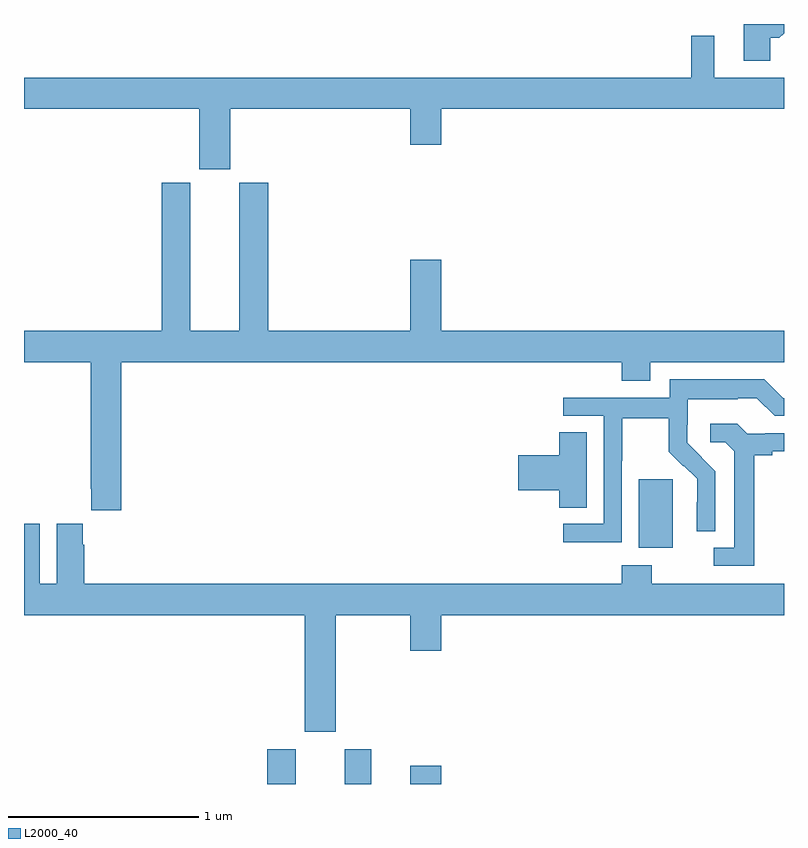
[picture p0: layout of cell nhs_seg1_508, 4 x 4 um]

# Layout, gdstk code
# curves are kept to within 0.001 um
import gdstk
lib = gdstk.Library(unit=1e-6, precision=1e-09)
def R(c, l, rs):  # rectangles x0, y0, x1, y1
    for r in rs: c.add(gdstk.rectangle(r[:2], r[2:], *l))
def P(c, l, *ps):  # polygons
    for p in ps: c.add(gdstk.Polygon(p, *l))
L2000_40 = (2000, 40)

nhs_seg1_508 = lib.new_cell('nhs_seg1_508')
R(nhs_seg1_508, L2000_40, [(140.279,528.199,140.431,528.382), (140.687,528.199,140.827,528.382), (141.032,528.199,141.196,528.295), (142.235,529.442,142.414,529.803)])
P(nhs_seg1_508, L2000_40, [(142.927,532.127),(142.976,532.127),(143,532.151),(143,532.199),(142.787,532.199),(142.787,532.005),(142.927,532.005)],
  [(139,531.752),(139.922,531.752),(139.922,531.435),(140.086,531.435),(140.086,531.752),(141.032,531.752),(141.032,531.564),(141.196,531.564),(141.196,531.752),(143,531.752),(143,531.916),(142.633,531.916),(142.633,532.138),(142.512,532.138),(142.512,531.916),(139,531.916)],
  [(139.511,530.42),(142.145,530.42),(142.145,530.321),(142.297,530.321),(142.297,530.42),(143,530.42),(143,530.584),(141.196,530.584),(141.196,530.959),(141.032,530.959),(141.032,530.584),(140.285,530.584),(140.285,531.363),(140.132,531.363),(140.132,530.584),(139.876,530.584),(139.876,531.363),(139.724,531.363),(139.724,530.584),(139,530.584),(139,530.42),(139.351,530.42),(139.351,529.753),(139.355,529.753),(139.355,529.641),(139.511,529.641)],
  [(142.146,529.9),(142.149,529.9),(142.149,530.124),(142.393,530.124),(142.393,529.949),(142.47,529.872),(142.473,529.875),(142.544,529.805),(142.544,529.682),(142.542,529.682),(142.542,529.528),(142.638,529.528),(142.638,529.846),(142.492,529.994),(142.492,530.091),(142.494,530.091),(142.494,530.225),(142.757,530.225),(142.757,530.229),(142.857,530.229),(142.95,530.136),(143,530.136),(143,530.229),(142.995,530.229),(142.895,530.329),(142.398,530.329),(142.398,530.232),(141.837,530.232),(141.837,530.136),(142.05,530.136),(142.05,529.569),(141.837,529.569),(141.837,529.471),(142.146,529.471)],
  [(142.843,529.928),(142.939,529.928),(142.939,529.95),(143,529.95),(143,530.046),(142.9,530.046),(142.9,530.043),(142.806,530.043),(142.754,530.095),(142.611,530.095),(142.611,529.998),(142.692,529.998),(142.739,529.951),(142.739,529.443),(142.629,529.443),(142.629,529.347),(142.843,529.347)],
  [(141.961,530.051),(141.818,530.051),(141.818,529.928),(141.6,529.928),(141.6,529.745),(141.818,529.745),(141.818,529.654),(141.961,529.654)],
  [(139.316,529.457),(139.309,529.457),(139.309,529.57),(139.172,529.57),(139.172,529.252),(139.084,529.252),(139.084,529.57),(139,529.57),(139,529.088),(140.477,529.088),(140.477,528.474),(140.641,528.474),(140.641,529.088),(141.032,529.088),(141.032,528.9),(141.196,528.9),(141.196,529.088),(143,529.088),(143,529.252),(142.305,529.252),(142.305,529.351),(142.145,529.351),(142.145,529.252),(139.316,529.252)])

lib.write_gds('nhs_seg1_508.gds')
